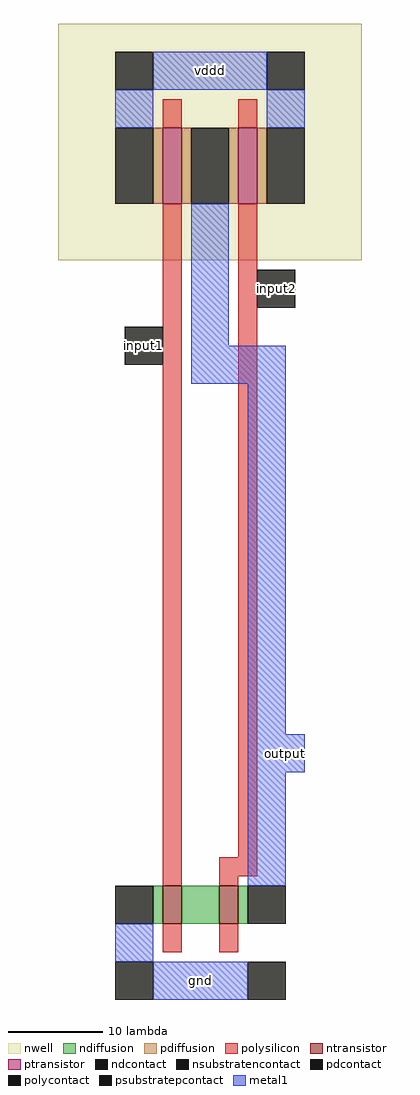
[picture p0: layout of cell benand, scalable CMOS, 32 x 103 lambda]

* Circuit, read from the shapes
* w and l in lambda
.subckt benand gnd input1 input2 output vddd
M1 n1 input1 gnd gnd nfet w=4 l=2
M2 output input2 n1 gnd nfet w=4 l=2
M3 output input1 vddd vddd pfet w=8 l=2
M4 vddd input2 output vddd pfet w=8 l=2
.ends

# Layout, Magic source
magic
tech scmos
<< nwell >>
rect -15 -7 17 18
<< ntransistor >>
rect -4 -77 -2 -73
rect 2 -77 4 -73
<< ptransistor >>
rect -4 -1 -2 7
rect 4 -1 6 7
<< ndiffusion >>
rect -5 -77 -4 -73
rect -2 -77 2 -73
rect 4 -77 5 -73
<< pdiffusion >>
rect -5 -1 -4 7
rect -2 -1 -1 7
rect 3 -1 4 7
rect 6 -1 7 7
<< ndcontact >>
rect -9 -77 -5 -73
rect 5 -77 9 -73
<< pdcontact >>
rect -9 -1 -5 7
rect -1 -1 3 7
rect 7 -1 11 7
<< psubstratepcontact >>
rect -9 -85 -5 -81
rect 5 -85 9 -81
<< nsubstratencontact >>
rect -9 11 -5 15
rect 7 11 11 15
<< polysilicon >>
rect -4 7 -2 10
rect 4 7 6 10
rect -4 -73 -2 -1
rect 4 -70 6 -1
rect 2 -72 6 -70
rect 2 -73 4 -72
rect -4 -80 -2 -77
rect 2 -80 4 -77
<< polycontact >>
rect -8 -18 -4 -14
rect 6 -12 10 -8
<< metal1 >>
rect -5 11 7 15
rect -9 7 -5 11
rect 7 7 11 11
rect -1 -16 3 -1
rect -1 -20 9 -16
rect 5 -57 9 -20
rect 5 -61 11 -57
rect 5 -73 9 -61
rect -9 -81 -5 -77
rect -5 -85 5 -81
<< labels >>
rlabel metal1 0 -83 0 -83 1 gnd
rlabel polycontact -6 -16 -6 -16 1 input1
rlabel polycontact 8 -10 8 -10 1 input2
rlabel metal1 1 13 1 13 5 vddd
rlabel metal1 9 -59 9 -59 1 output
<< end >>
